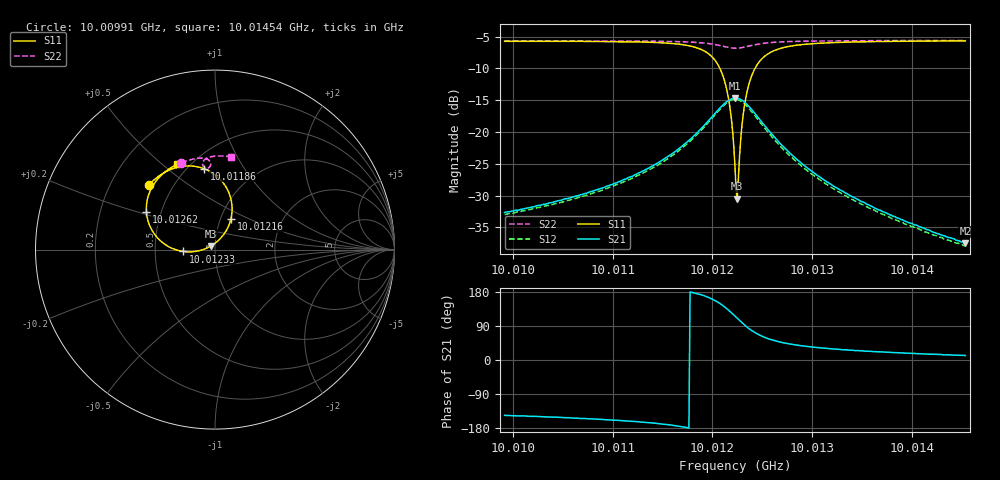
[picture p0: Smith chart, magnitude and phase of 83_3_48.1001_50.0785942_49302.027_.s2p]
#  HZ  S  RI  R  50.00
! Rohde & Schwarz Vector Network Analyzer
! Rohde-Schwarz,ZNB20-2Port,1311601062101988,3.16
! Created: UTC 12/23/2023, 3:43:00 AM
! freq[Hz]  re:S11  im:S11  re:S21  im:S21  re:S12  im:S12  re:S22  im:S22
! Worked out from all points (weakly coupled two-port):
!   401 points, 10.00991 GHz to 10.01454 GHz, reference 50 ohm
!   highest |S21| = -14.67 dB at 10.01223 GHz (marker M1); lowest = -37.5 dB at 10.01454 GHz (marker M2)
!   lowest |S11| = -30.5 dB at 10.01225 GHz (marker M3), VSWR 1.06, Z = 47.9 + j1.99 ohm
!   |S11| at or under -10 dB: 10.01208 GHz to 10.01243 GHz (353.2 kHz wide, 0.00353 % of centre)
!   |S22| runs from -6.8 to -5.6 dB; largest |S21 - S12| = 0.0088
!   S11 on the Smith chart (normalised r, x): 10.00991 GHz: 0.37, +0.36; 10.01186 GHz: 0.60, +0.68; 10.01216 GHz: 1.12, +0.39; 10.01233 GHz: 0.70, -0.01; 10.01262 GHz: 0.41, +0.22; 10.01454 GHz: 0.43, +0.56
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1.0009914e10  -0.3699 0.3601  -0.0193 -0.013  -0.0179 -0.0135  -0.1867 0.484
1.0010689e10  -0.3142 0.4088  -0.029 -0.0139  -0.0273 -0.015  -0.1369 0.5007
1.0011464e10  -0.2075 0.459  -0.0566 -0.0119  -0.0537 -0.0145  -0.0798 0.5103
1.0011857e10  -0.062 0.451  -0.0999 0.01  -0.0973 0.00432  -0.0422 0.5032
1.0011973e10  0.0144 0.4055  -0.1204 0.0352  -0.1187 0.028  -0.0302 0.4933
1.0012054e10  0.07 0.3331  -0.1315 0.0676  -0.1317 0.0593  -0.0245 0.4814
1.0012112e10  0.094 0.2508  -0.1306 0.1003  -0.1318 0.0924  -0.0249 0.4702
1.0012158e10  0.0884 0.1691  -0.1191 0.13  -0.1222 0.1218  -0.0291 0.4613
1.0012193e10  0.063 0.1062  -0.1026 0.1505  -0.106 0.1432  -0.0351 0.4562
1.0012227e10  0.0178 0.0499  -0.0804 0.1664  -0.0836 0.1599  -0.0426 0.4533
1.0012239e10  -0.00138 0.0341  -0.0719 0.1701  -0.0751 0.1637  -0.0454 0.4529
1.001225e10  -0.0214 0.0208  -0.0629 0.1732  -0.0665 0.1667  -0.0483 0.4531
1.0012262e10  -0.0432 0.00925  -0.0536 0.1752  -0.0576 0.1687  -0.0508 0.4535
1.0012308e10  -0.1335 -0.0127  -0.0173 0.1745  -0.0216 0.1685  -0.0606 0.4584
1.0012331e10  -0.1774 -0.0103  -0.000905 0.1694  -0.0055 0.1637  -0.0642 0.4622
1.0012378e10  -0.2529 0.0135  0.025 0.1535  0.0191 0.1485  -0.0683 0.4708
1.0012435e10  -0.3175 0.0624  0.0443 0.13  0.0387 0.1258  -0.0685 0.4816
1.0012516e10  -0.3642 0.1347  0.056 0.0998  0.05 0.0972  -0.064 0.4937
1.0012621e10  -0.3821 0.2104  0.0569 0.0716  0.0514 0.0701  -0.0546 0.5038
1.0013002e10  -0.3504 0.3488  0.0403 0.0275  0.037 0.0277  -0.02 0.518
1.0013777e10  -0.272 0.4375  0.0211 0.00775  0.0196 0.0085  0.0378 0.5217
1.001454e10  -0.2106 0.4758  0.0131 0.00277  0.0122 0.0033  0.0892 0.5165
